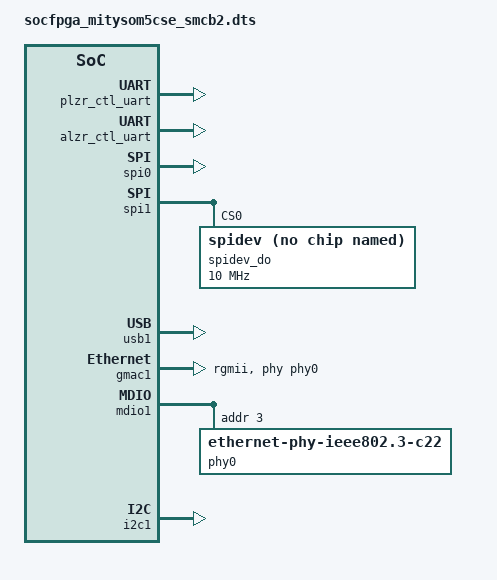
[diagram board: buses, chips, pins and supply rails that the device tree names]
#include "socfpga_mitysom5cse.dtsi"
#include <dt-bindings/interrupt-controller/irq.h>

/ {
	aliases {
		/* this allow the ethaddr uboot environmnet variable contents
		 * to be added to the gmac1 device tree blob.
		 */
		ethernet0 = &gmac1;
	};

	soc {

		hps_lw_bus: bus@0ff200000 {
			status = "okay";

			plzr_ctl_uart: serial@2040 {
				compatible = "altr,uart-1.0";
				reg = <0x2040 0x20>;
				interrupts = <0 43 4>;
				clock-frequency = <100000000>;
			};
			
			alzr_ctl_uart: serial@2060 {
				compatible = "altr,uart-1.0";
				reg = <0x2060 0x20>;
				interrupts = <0 42 4>;
				clock-frequency = <100000000>;
			};
		};

		streamer0: streamer@20000000 {
			compatible = "uio,irq";
			interrupts = <0 41 1>;
		};

		streamer1: streamer@30000000 {
			compatible = "uio,irq";
			interrupts = <0 40 1>;
		};

		spi0: spi@fff00000 {
			num-chipselect = <4>;
			status = "okay";
		};

		spi1: spi@fff01000 {
			num-chipselect = <1>;
			status = "okay";
			spidev_do@0 {
				compatible = "spidev";
				reg = <0>;
				spi-max-frequency = <10000000>;
				enable-dma = <1>;
			};
		};

		usb1: usb@ffb40000 {
			status = "okay";
		};

		dwmmc0@ff704000 {
			num-slots = <1>;
			supports-highspeed;
			broken-cd;
			altr,dw-mshc-ciu-div = <3>;
			altr,dw-mshc-sdr-timing = <0 3>;

			slot@0 {
				reg = <0>;
				bus-width = <4>;
			};
		};

		gmac1: ethernet@ff702000 {
			status = "okay";
			phy-handle = <&phy0>;
			phy-mode = "rgmii";
			snps,max-mtu = <4062>;
		};

		mdio1: mdio@ff702000 {
			status = "okay";
			#address-cells = <1>;
			#size-cells = <0>;
			phy0: ethernet-phy@0 {
				/* reg = <0x7>; */
				reg = <0x3>;
				device_type = "ethernet-phy";
				compatible = "ethernet-phy-ieee802.3-c22";
			};
		};
		
		i2c1: i2c@ffc05000 {
		speed-mode = <0>;
		status = "okay";

/*
			i2c-switch@70 { 
			compatible="nxp,pca9548";
			#address-cells = <1>;
			#size-cells = <0>;
			reg = <0x70>;
			
			i2c@0 {
				#address-cells = <1>;
				#size-cells = <0>;
				reg = <0x0>;
			
			};
			i2c@1 {
				#address-cells = <1>;
				#size-cells = <0>;
				reg = <0x1>;
			
			};

			i2c@2 {
				#address-cells = <1>;
				#size-cells = <0>;
				reg = <0x2>;
			
			};

			i2c@3 {
				#address-cells = <1>;
				#size-cells = <0>;
				reg = <0x3>;
			
			};

			i2c@4 {
				#address-cells = <1>;
				#size-cells = <0>;
				reg = <0x4>;
			
			};

			i2c@5 {
				#address-cells = <1>;
				#size-cells = <0>;
				reg = <0x5>;
			
			};

			i2c@6 {
				#address-cells = <1>;
				#size-cells = <0>;
				reg = <0x6>;
			
			};

			i2c@7 {
				#address-cells = <1>;
				#size-cells = <0>;
				reg = <0x7>;
				status="disabled";
				
			};
		};
*/
		};
	};
};
